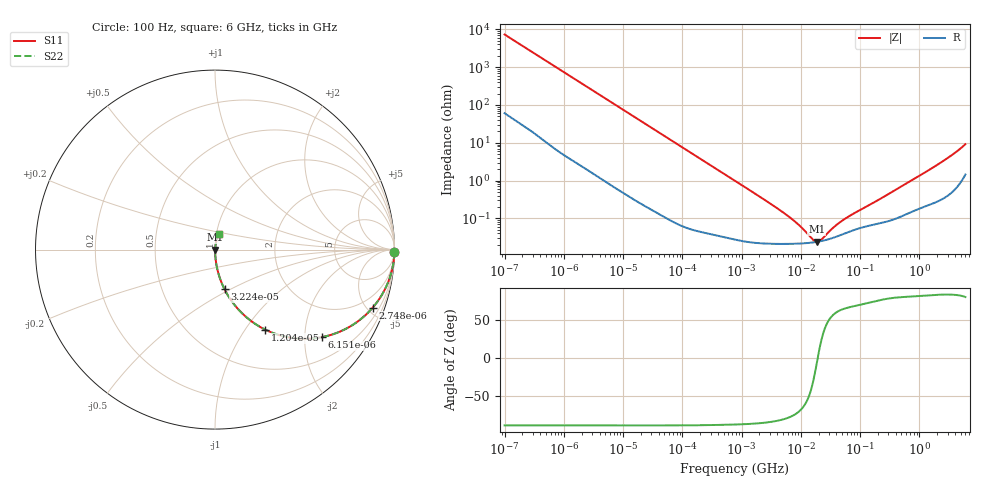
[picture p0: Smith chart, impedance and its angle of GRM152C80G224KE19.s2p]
!Murata Part Number: GRM152C80G224KE19
!These Parameters are Measured in Series Mode Connection
!Data Generated on Mar 30, 2021
!  o--ll--o
!Port1  Port2
!  o------o
!Operation Temp=25[degC], DC Bias Voltage=0[V]
!Freq. Start=100[Hz] Stop=6[GHz] 401[Steps]
# Hz S RI R 50
!Freq.(Hz) S11(Real) S11(Imag) S21(Real) S21(Imag) S12(Real) S12(Imag) S22(Real) S22(Imag)
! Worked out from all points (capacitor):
!   401 points, 100 Hz to 6 GHz, reference 50 ohm
!   read as one part in series: C = 216 nF near 109 Hz
!   lowest |Z| = 24 mohm at 18.61 MHz (marker M1)
!   series resonance near 19.3 MHz, so ESL is about 310 pH
!   S11 on the Smith chart (normalised r, x): 100 Hz: open; 2.748 kHz: 1.03, -5.43; 6.151 kHz: 1.02, -2.43; 12.04 kHz: 1.01, -1.25; 32.24 kHz: 1.00, -0.47; 6 GHz: 1.03, +0.18
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100  0.9997 -0.0136  0.000297 0.0136  0.000297 0.0136  0.9997 -0.0136
600  0.993 -0.0802  0.00702 0.0802  0.00702 0.0802  0.993 -0.0802
2008  0.9309 -0.2504  0.0691 0.2504  0.0691 0.2504  0.9309 -0.2504
2748  0.879 -0.3229  0.121 0.3229  0.121 0.3229  0.879 -0.3229
4111  0.7663 -0.4201  0.2337 0.4201  0.2337 0.4201  0.7663 -0.4201
6151  0.5963 -0.4875  0.4037 0.4875  0.4037 0.4875  0.5963 -0.4875
12041  0.281 -0.4464  0.719 0.4464  0.719 0.4464  0.281 -0.4464
18841  0.1389 -0.3427  0.8611 0.3427  0.8611 0.3427  0.1389 -0.3427
32244  0.0531 -0.2209  0.9469 0.2209  0.9469 0.2209  0.0531 -0.2209
40335  0.0349 -0.1802  0.9651 0.1802  0.9651 0.1802  0.0349 -0.1802
129199  0.00394 -0.0583  0.9961 0.0583  0.9961 0.0583  0.00394 -0.0583
774597  0.00037 -0.00984  0.9996 0.00984  0.9996 0.00984  0.00037 -0.00984
6075234  0.000212 -0.00113  0.9998 0.00113  0.9998 0.00113  0.000212 -0.00113
9506416  0.000215 -0.000608  0.9998 0.000608  0.9998 0.000608  0.000215 -0.000608
1.555665e7  0.000229 -0.00017  0.9998 0.00017  0.9998 0.00017  0.000229 -0.00017
1.86079e7  0.000238 -2.85e-05  0.9998 2.85e-05  0.9998 2.85e-05  0.000238 -2.85e-05
2.225763e7  0.000251 0.00011  0.9997 -0.00011  0.9997 -0.00011  0.000251 0.00011
3.64232e7  0.000311 0.000504  0.9997 -0.000504  0.9997 -0.000504  0.000311 0.000504
5.449875e7  0.000395 0.000866  0.9996 -0.000866  0.9996 -0.000866  0.000395 0.000866
3.124326e8  0.000876 0.00445  0.9991 -0.00445  0.9991 -0.00445  0.000876 0.00445
2.048624e9  0.00349 0.0262  0.9965 -0.0262  0.9965 -0.0262  0.00349 0.0262
6e9  0.022 0.0874  0.978 -0.0874  0.978 -0.0874  0.022 0.0874
